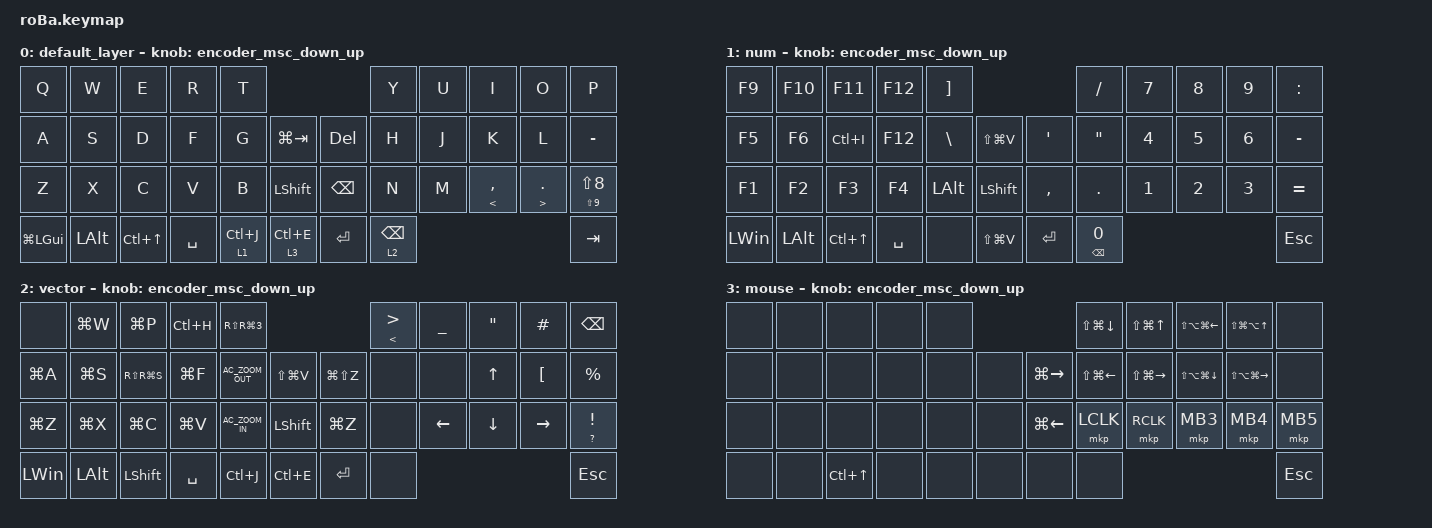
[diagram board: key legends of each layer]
#include <behaviors.dtsi>
#include <dt-bindings/zmk/bt.h>
#include <dt-bindings/zmk/keys.h>
#include <dt-bindings/zmk/pointing.h>

#define ZMK_POINTING_DEFAULT_SCRL_VAL 80

&mt {
    flavor = "balanced";
    quick-tap-ms = <175>;
    require-prior-idle-ms = <150>;
};

&lt {
    tapping-term-ms = <220>;
    require-prior-idle-ms = <150>;
};

/ {
    combos {
        compatible = "zmk,combos";

        bt0 {
            bindings = <&bt BT_SEL 0>;
            key-positions = <39 38>;
        };

        bt2 {
            bindings = <&bt BT_SEL 2>;
            key-positions = <28 16>;
        };

        bt1 {
            bindings = <&bt BT_SEL 1>;
            key-positions = <40 41>;
        };

        screenshot {
            bindings = <&kp LS(LG(N5))>;
            key-positions = <35 36>;
        };
    };

    macros {
        to_layer_0: to_layer_0 {
            compatible = "zmk,behavior-macro-one-param";
            #binding-cells = <1>;
            bindings = <&to 0 &macro_param_1to1 &kp MACRO_PLACEHOLDER>;
            label = "TO_LAYER_0";
        };
    };

    behaviors {
        lt_to_layer_0: lt_to_layer_0 {
            compatible = "zmk,behavior-hold-tap";
            label = "LAYER_TAP_TO_0";
            bindings = <&mo>, <&to_layer_0>;

            #binding-cells = <2>;
            tapping-term-ms = <200>;
        };

        encoder_msc_down_up: encoder_msc_down_up {
            compatible = "zmk,behavior-sensor-rotate";
            label = "ENCODER_MSC_DOWN_UP";
            #sensor-binding-cells = <0>;
            bindings = <&msc SCRL_DOWN>, <&msc SCRL_UP>;

            tap-ms = <20>;
        };
    };

    keymap {
        compatible = "zmk,keymap";

        default_layer {
            bindings = <
&kp Q             &kp W         &kp E             &kp R      &kp T                                           &kp Y            &kp U  &kp I                &kp O                    &kp P
&kp A             &kp S         &kp D             &kp F      &kp G        &kp LG(TAB)         &kp DELETE     &kp H            &kp J  &kp K                &kp L                    &kp MINUS
&kp Z             &kp X         &kp C             &kp V      &kp B        &kp LEFT_SHIFT      &kp BACKSPACE  &kp N            &kp M  &mt LESS_THAN COMMA  &mt GREATER_THAN PERIOD  &mt LS(NUMBER_9) LS(NUMBER_8)
&kp LG(LEFT_GUI)  &kp LEFT_ALT  &kp LC(UP_ARROW)  &kp SPACE  &lt 1 LC(J)  &lt 3 LC(E)         &kp ENTER      &lt 2 BACKSPACE                                                       &kp TAB
            >;

            sensor-bindings = <&encoder_msc_down_up>;
        };

        num {
            bindings = <
&kp F9        &kp F10       &kp F11           &kp F12    &kp RIGHT_BRACKET                                 &kp SLASH          &kp N7  &kp N8  &kp N9  &kp COLON
&kp F5        &kp F6        &kp LC(I)         &kp F12    &kp BACKSLASH      &kp LS(LG(V))       &kp SQT    &kp DOUBLE_QUOTES  &kp N4  &kp N5  &kp N6  &kp MINUS
&kp F1        &kp F2        &kp F3            &kp F4     &kp LEFT_ALT       &kp LEFT_SHIFT      &kp COMMA  &kp PERIOD         &kp N1  &kp N2  &kp N3  &kp EQUAL
&kp LEFT_WIN  &kp LEFT_ALT  &kp LC(UP_ARROW)  &kp SPACE  &none              &kp LS(LG(V))       &kp ENTER  &mt BSPC N0                                &kp ESC
            >;

            sensor-bindings = <&encoder_msc_down_up>;
        };

        vector {
            bindings = <
&none         &kp LG(W)     &kp LG(P)       &kp LC(H)  &kp RS(RG(NUMBER_3))                                     &mt LESS_THAN GREATER_THAN  &kp UNDERSCORE  &kp DOUBLE_QUOTES  &kp HASH          &kp BACKSPACE
&kp LG(A)     &kp LG(S)     &kp RS(RG(S))   &kp LG(F)  &kp C_AC_ZOOM_OUT     &kp LS(LG(V))       &kp LG(LS(Z))  &none                       &none           &kp UP             &kp LEFT_BRACKET  &kp PERCENT
&kp LG(Z)     &kp LG(X)     &kp LG(C)       &kp LG(V)  &kp C_AC_ZOOM_IN      &kp LEFT_SHIFT      &kp LG(Z)      &none                       &kp LEFT        &kp DOWN           &kp RIGHT         &mt QUESTION EXCLAMATION
&kp LEFT_WIN  &kp LEFT_ALT  &kp LEFT_SHIFT  &kp SPACE  &kp LC(J)             &kp LC(E)           &kp ENTER      &none                                                                            &kp ESCAPE
            >;

            sensor-bindings = <&encoder_msc_down_up>;
        };

        mouse {
            bindings = <
&none  &none  &none             &none  &none                            &kp LS(LG(DOWN_ARROW))  &kp LS(LG(UP_ARROW))  &kp LS(LA(LG(LEFT)))        &kp LS(LG(LA(UP_ARROW)))  &none
&none  &none  &none             &none  &none  &none      &kp LG(RIGHT)  &kp LS(LG(LEFT_ARROW))  &kp LS(LG(RIGHT))     &kp LS(LA(LG(DOWN_ARROW)))  &kp LS(LA(LG(RIGHT)))     &none
&none  &none  &none             &none  &none  &none      &kp LG(LEFT)   &mkp LCLK               &mkp RCLK             &mkp MB3                    &mkp MB4                  &mkp MB5
&none  &none  &kp LC(UP_ARROW)  &none  &none  &none      &none          &none                                                                                               &kp ESCAPE
            >;

            sensor-bindings = <&encoder_msc_down_up>;
        };
    };
};
